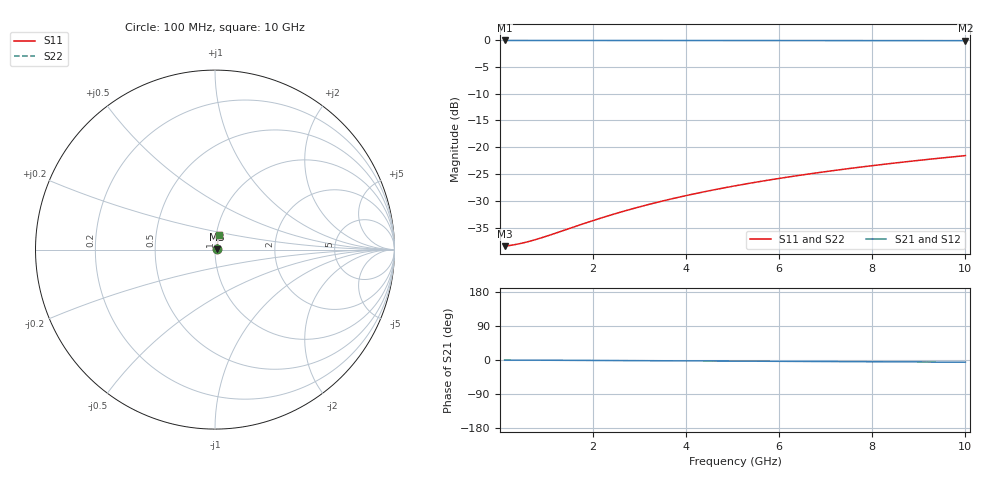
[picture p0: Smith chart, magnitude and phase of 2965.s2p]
# Hz S RI R 50.00
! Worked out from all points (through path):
!   100 points, 100 MHz to 10 GHz, reference 50 ohm
!   highest |S21| = -0.10 dB at 100 MHz (marker M1); lowest = -0.1 dB at 10 GHz (marker M2)
!   lowest |S11| = -38.5 dB at 100 MHz (marker M3), VSWR 1.02, Z = 51.2 + j0.0834 ohm
!   |S11| at or under -10 dB: start of sweep to end of sweep
!   |S22| runs from -38.5 to -21.6 dB; largest |S21 - S12| = 0
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1e8  0.0119 0.000814  0.9881 -0.000996  0.9881 -0.000996  0.0119 0.000814
3e8  0.0121 0.00244  0.9879 -0.00299  0.9879 -0.00299  0.0121 0.00244
4e8  0.0121 0.00326  0.9879 -0.00398  0.9879 -0.00398  0.0121 0.00326
5e8  0.0121 0.00407  0.9879 -0.00498  0.9879 -0.00498  0.0121 0.00407
7e8  0.0122 0.0057  0.9878 -0.00697  0.9878 -0.00697  0.0122 0.0057
1e9  0.0123 0.00814  0.9876 -0.00995  0.9876 -0.00995  0.0123 0.00814
1.8e9  0.0127 0.0146  0.9873 -0.0179  0.9873 -0.0179  0.0127 0.0146
2.2e9  0.0129 0.0179  0.9871 -0.0219  0.9871 -0.0219  0.0129 0.0179
2.6e9  0.0131 0.0211  0.9869 -0.0259  0.9869 -0.0259  0.0131 0.0211
3e9  0.0133 0.0244  0.9867 -0.0298  0.9867 -0.0298  0.0133 0.0244
3.4e9  0.0135 0.0276  0.9864 -0.0338  0.9864 -0.0338  0.0135 0.0276
3.8e9  0.0138 0.0309  0.9862 -0.0378  0.9862 -0.0378  0.0138 0.0309
4.2e9  0.0141 0.0341  0.9859 -0.0417  0.9859 -0.0417  0.0141 0.0341
4.6e9  0.0144 0.0373  0.9855 -0.0457  0.9855 -0.0457  0.0144 0.0373
5.1e9  0.0149 0.0414  0.9851 -0.0507  0.9851 -0.0507  0.0149 0.0414
5.5e9  0.0152 0.0446  0.9847 -0.0546  0.9847 -0.0546  0.0152 0.0446
5.9e9  0.0156 0.0478  0.9843 -0.0586  0.9843 -0.0586  0.0156 0.0478
6.7e9  0.0165 0.0543  0.9834 -0.0665  0.9834 -0.0665  0.0165 0.0543
7.5e9  0.0175 0.0607  0.9824 -0.0744  0.9824 -0.0744  0.0175 0.0607
8.4e9  0.0187 0.0679  0.9812 -0.0832  0.9812 -0.0832  0.0187 0.0679
9.2e9  0.0199 0.0743  0.98 -0.0911  0.98 -0.0911  0.0199 0.0743
1e10  0.0212 0.0807  0.9786 -0.0989  0.9786 -0.0989  0.0212 0.0807
